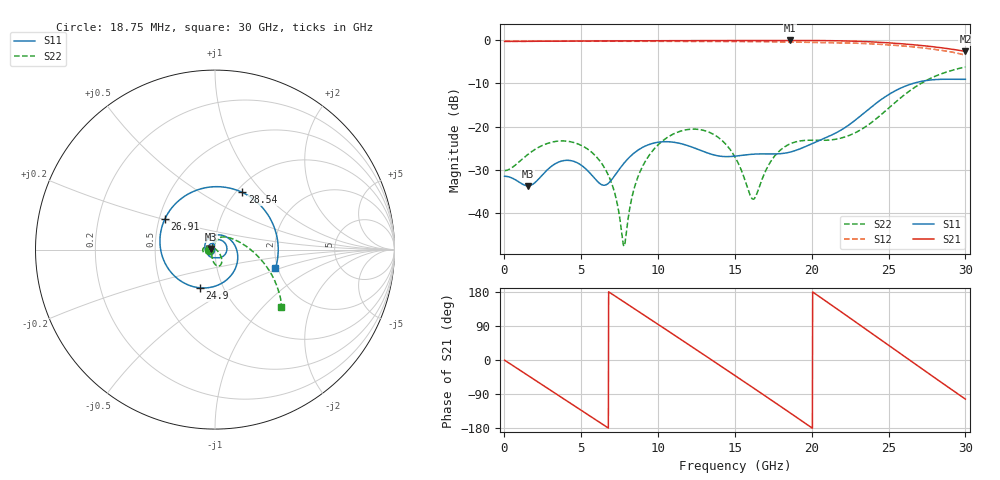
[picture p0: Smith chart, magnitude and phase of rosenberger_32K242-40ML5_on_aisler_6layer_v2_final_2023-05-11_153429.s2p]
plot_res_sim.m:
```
% BSD 2-Clause License
% Copyright (c) 2023, Tobias Ammann
% 
% Redistribution and use in source and binary forms, with or without
% modification, are permitted provided that the following conditions are met:
% 
% 1. Redistributions of source code must retain the above copyright notice, this
%    list of conditions and the following disclaimer.
% 
% 2. Redistributions in binary form must reproduce the above copyright notice,
%    this list of conditions and the following disclaimer in the documentation
%    and/or other materials provided with the distribution.
%
% THIS SOFTWARE IS PROVIDED BY THE COPYRIGHT HOLDERS AND CONTRIBUTORS "AS IS"
% AND ANY EXPRESS OR IMPLIED WARRANTIES, INCLUDING, BUT NOT LIMITED TO, THE
% IMPLIED WARRANTIES OF MERCHANTABILITY AND FITNESS FOR A PARTICULAR PURPOSE ARE
% DISCLAIMED. IN NO EVENT SHALL THE COPYRIGHT HOLDER OR CONTRIBUTORS BE LIABLE
% FOR ANY DIRECT, INDIRECT, INCIDENTAL, SPECIAL, EXEMPLARY, OR CONSEQUENTIAL
% DAMAGES (INCLUDING, BUT NOT LIMITED TO, PROCUREMENT OF SUBSTITUTE GOODS OR
% SERVICES; LOSS OF USE, DATA, OR PROFITS; OR BUSINESS INTERRUPTION) HOWEVER
% CAUSED AND ON ANY THEORY OF LIABILITY, WHETHER IN CONTRACT, STRICT LIABILITY,
% OR TORT (INCLUDING NEGLIGENCE OR OTHERWISE) ARISING IN ANY WAY OUT OF THE USE
% OF THIS SOFTWARE, EVEN IF ADVISED OF THE POSSIBILITY OF SUCH DAMAGE.

addpath('../CTB');

close all;

% Plot Size and scaling
size_x = 1280;
size_y = 720;
ref_line_y = -23;

% Parse Touchstone
[type,freq,sp,ref,comment]=read_touchstone('rosenberger_32K242-40ML5_on_aisler_6layer_v2_final_2023-05-11_153429.s2p');
s21dB = 20*log10(abs(squeeze(sp(2,1,:))));
s11dB = 20*log10(abs(squeeze(sp(1,1,:))));

% Create Figure 1 - magnitude dB plots
fig1 = figure('Position', [0,0, size_x, size_y]);

% Plot Lines
hold on;
plot(freq/1e9, s21dB, 'Linewidth', 1.5);
plot(freq/1e9, s11dB, 'Linewidth', 1.5);
plot(xlim, repmat(ref_line_y, 1, 2), 'bk--', 'Linewidth', 0.5);
text(28, ref_line_y + 0.8, [num2str(ref_line_y), ' dB'], 'FontSize', 10)
hold off;

% Plot Texts
legend('S_{21}', 'S_{11}', 'FontSize', 11);
title({'Rosenberger 32K242-40ML5 on Aisler 6LayerHD',...
       'OpenEMS Final Scattering Parameters'});
xlabel('Frequency / GHz');
ylabel('Magnitude / dB');
grid minor

##% Create Figure 2 - Smithchart
##fig2 = figure('Position', [0,0, size_x, size_x]);
##
##[~, fmax_idx] = min(abs(freq - 22e9))
##h_plot_s11 = plotSmith(squeeze(sp(1,1,1:fmax_idx)), 'S11', freq(1:fmax_idx), []);
##h_plot_s22 = plotSmith(squeeze(sp(2,2,1:fmax_idx)), 'S22', freq(1:fmax_idx), [], 'nogrid');
##
##set(h_plot_s11, 'linewidth', 1.5);
##set(h_plot_s22, 'linewidth', 1.5);
##
##legend('FontSize', 11);
##title({'Rosenberger 32K242-40ML5 on Aisler 6LayerHD',...
##       'OpenEMS Final Scattering Parameters'});

% Export to JPG and PDF
print(fig1, 'plot_res_sim.pdf', '-landscape', '-bestfit');
print(fig1, 'plot_res_sim.png', '-dpng', sprintf('-S%i,%i', size_x, size_y));

##print(fig2, 'plot_res_sim_smith.pdf', '-portrait', '-bestfit');
##print(fig2, 'plot_res_sim_smith.png', '-dpng', sprintf('-S%i,%i', size_x, size_x));
```
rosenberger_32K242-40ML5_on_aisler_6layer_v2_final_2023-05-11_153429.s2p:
#  Hz  S  RI  R  50
! comment_to_be_done
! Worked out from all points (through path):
!   1600 points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, 18.75 MHz to 30 GHz, reference 50 ohm
!   highest |S21| = -0.08 dB at 18.6 GHz (marker M1); lowest = -2.6 dB at 30 GHz (marker M2)
!   group delay of S21, straight-line fit = 76.2 ps
!   lowest |S11| = -33.7 dB at 1.538 GHz (marker M3), VSWR 1.04, Z = 48 + j0.309 ohm
!   |S11| at or under -10 dB: start of sweep to 26.59 GHz
!   |S22| runs from -47.6 to -6.2 dB; largest |S21 - S12| = 0.074
!   S11 on the Smith chart (normalised r, x): 18.75 MHz: 0.95, +0.00; 24.9 GHz: 0.78, -0.35; 26.91 GHz: 0.54, +0.20; 28.54 GHz: 1.07, +0.78; 30 GHz: 1.94, -0.46
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1.875e7  -0.0268 0.000168  0.967 -0.00841  0.9686 -0.00852  -0.0311 -0.000301
1.5375e9  -0.0205 0.00322  0.7336 -0.6323  0.7353 -0.6322  -0.0441 -0.0187
6.7875e9  -0.00887 0.0205  -0.9786 0.00167  -0.9698 0.00164  -0.0215 0.0165
7.8e9  -0.0125 0.0361  -0.8725 0.4455  -0.8637 0.4415  0.00285 0.00306
1.05375e10  0.0645 0.0189  0.1744 0.9684  0.1724 0.9505  0.038 -0.0633
1.501875e10  -0.00606 -0.0454  0.742 -0.6532  0.726 -0.6335  -0.0168 -0.041
1.86e10  -0.0503 -0.00809  -0.7557 -0.641  -0.7256 -0.614  0.019 0.0606
2.49e10  -0.0832 -0.213  0.6954 0.6217  0.6539 0.5941  0.1549 0.031
2.690625e10  -0.2794 0.1705  0.8424 -0.2349  0.7947 -0.2226  0.2858 -0.0929
2.85375e10  0.1515 0.3189  0.3804 -0.7171  0.3448 -0.6746  0.3509 -0.2206
3e10  0.337 -0.1042  -0.1688 -0.7217  -0.1732 -0.6475  0.3693 -0.322
